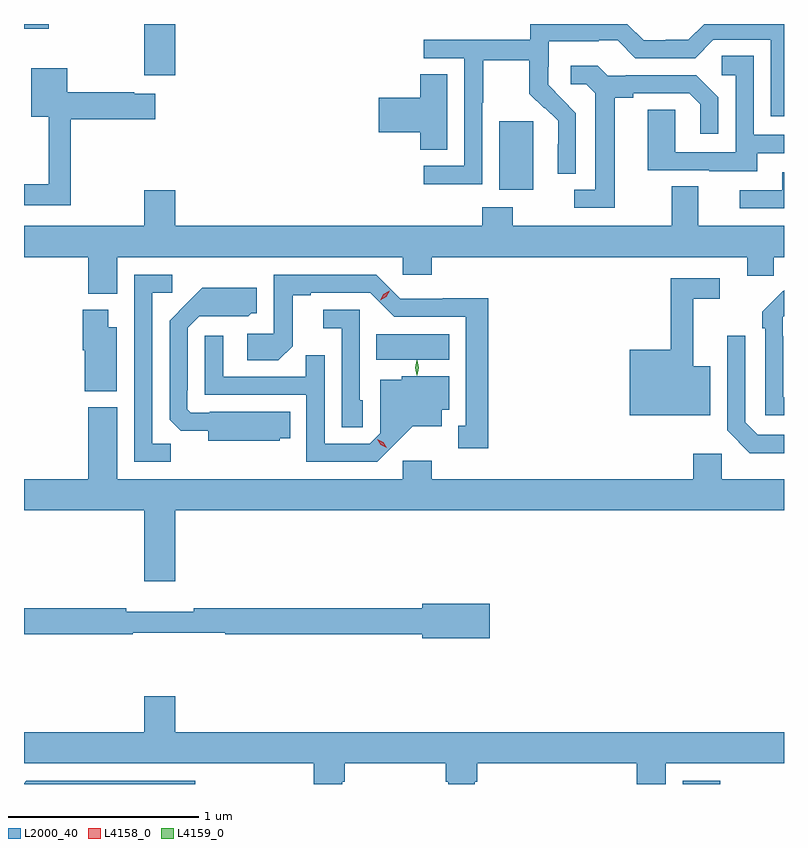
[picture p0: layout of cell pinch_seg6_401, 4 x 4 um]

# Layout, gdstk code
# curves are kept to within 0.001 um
import gdstk
lib = gdstk.Library(unit=1e-6, precision=1e-09)
def R(c, l, rs):  # rectangles x0, y0, x1, y1
    for r in rs: c.add(gdstk.rectangle(r[:2], r[2:], *l))
def P(c, l, *ps):  # polygons
    for p in ps: c.add(gdstk.Polygon(p, *l))
L2000_40 = (2000, 40)
L4158_0 = (4158, 0)
L4159_0 = (4159, 0)

pinch_seg6_401 = lib.new_cell('pinch_seg6_401')
R(pinch_seg6_401, L2000_40, [(635.373,933.907,635.572,933.924), (633.76,936.14,634.144,936.274), (634.409,937.034,634.588,937.395), (632.54,937.638,632.704,937.907), (631.907,937.881,632.036,937.907)])
P(pinch_seg6_401, L2000_40, [(634.32,937.492),(634.323,937.492),(634.323,937.716),(634.567,937.716),(634.567,937.541),(634.644,937.464),(634.647,937.467),(634.718,937.397),(634.718,937.274),(634.716,937.274),(634.716,937.12),(634.812,937.12),(634.812,937.438),(634.666,937.586),(634.666,937.683),(634.668,937.683),(634.668,937.817),(634.931,937.817),(634.931,937.821),(635.031,937.821),(635.124,937.728),(635.439,937.728),(635.535,937.824),(635.838,937.824),(635.838,937.422),(635.907,937.422),(635.907,937.907),(635.486,937.907),(635.403,937.824),(635.285,937.824),(635.285,937.821),(635.169,937.821),(635.083,937.907),(634.572,937.907),(634.572,937.824),(634.011,937.824),(634.011,937.728),(634.224,937.728),(634.224,937.161),(634.011,937.161),(634.011,937.063),(634.32,937.063)],
  [(635.767,937.227),(635.907,937.227),(635.907,937.323),(635.748,937.323),(635.748,937.739),(635.58,937.739),(635.58,937.638),(635.652,937.638),(635.652,937.233),(635.334,937.233),(635.334,937.457),(635.189,937.457),(635.189,937.137),(635.513,937.137),(635.513,937.133),(635.767,937.133)],
  [(635.017,937.52),(635.113,937.52),(635.113,937.542),(635.408,937.542),(635.465,937.485),(635.465,937.329),(635.562,937.329),(635.562,937.522),(635.446,937.638),(635.074,937.638),(635.074,937.635),(634.98,937.635),(634.928,937.687),(634.785,937.687),(634.785,937.59),(634.866,937.59),(634.913,937.543),(634.913,937.035),(634.803,937.035),(634.803,936.939),(635.017,936.939)],
  [(632.153,937.406),(632.599,937.406),(632.599,937.54),(632.486,937.54),(632.486,937.548),(632.134,937.548),(632.134,937.675),(631.946,937.675),(631.946,937.418),(632.036,937.418),(632.036,937.063),(631.907,937.063),(631.907,936.954),(632.153,936.954)],
  [(634.135,937.643),(633.992,937.643),(633.992,937.52),(633.774,937.52),(633.774,937.337),(633.992,937.337),(633.992,937.246),(634.135,937.246)],
  [(635.907,937.128),(635.897,937.128),(635.897,937.032),(635.673,937.032),(635.673,936.936),(635.907,936.936)],
  [(632.398,936.68),(633.9,936.68),(633.9,936.587),(634.052,936.587),(634.052,936.68),(635.714,936.68),(635.714,936.582),(635.853,936.582),(635.853,936.68),(635.907,936.68),(635.907,936.844),(635.455,936.844),(635.455,937.052),(635.315,937.052),(635.315,936.844),(634.479,936.844),(634.479,936.943),(634.319,936.943),(634.319,936.844),(632.704,936.844),(632.704,937.033),(632.54,937.033),(632.54,936.844),(631.907,936.844),(631.907,936.68),(632.246,936.68),(632.246,936.488),(632.398,936.488)],
  [(634.351,936.464),(634.11,936.464),(634.11,936.462),(633.888,936.462),(633.762,936.588),(633.222,936.588),(633.222,936.276),(633.081,936.276),(633.081,936.136),(633.245,936.136),(633.321,936.212),(633.321,936.48),(633.415,936.48),(633.415,936.492),(633.729,936.492),(633.855,936.366),(634.232,936.366),(634.232,935.793),(634.193,935.793),(634.193,935.673),(634.351,935.673)],
  [(632.679,935.699),(632.583,935.699),(632.583,936.492),(632.686,936.492),(632.686,936.588),(632.487,936.588),(632.487,935.604),(632.679,935.604)],
  [(635.518,936.106),(635.429,936.106),(635.429,936.462),(635.569,936.462),(635.569,936.57),(635.311,936.57),(635.311,936.193),(635.096,936.193),(635.096,935.849),(635.518,935.849)],
  [(633.252,935.726),(633.308,935.726),(633.308,935.866),(632.884,935.866),(632.884,935.862),(632.784,935.862),(632.766,935.88),(632.766,935.98),(632.769,935.98),(632.769,936.309),(632.829,936.369),(633.086,936.368),(633.102,936.384),(633.133,936.384),(633.133,936.52),(632.845,936.52),(632.673,936.346),(632.673,935.824),(632.732,935.765),(632.876,935.765),(632.876,935.714),(633.252,935.714)],
  [(635.907,935.943),(635.904,935.943),(635.904,936.263),(635.901,936.263),(635.901,936.363),(635.907,936.369),(635.907,936.505),(635.899,936.497),(635.898,936.498),(635.793,936.393),(635.793,936.305),(635.808,936.305),(635.808,935.847),(635.907,935.847)],
  [(632.395,936.31),(632.35,936.31),(632.35,936.403),(632.216,936.403),(632.216,936.189),(632.228,936.189),(632.228,935.975),(632.395,935.975)],
  [(633.69,935.928),(633.675,935.928),(633.675,936.402),(633.483,936.402),(633.483,936.305),(633.579,936.305),(633.579,935.785),(633.69,935.785)],
  [(635.907,935.745),(635.769,935.745),(635.703,935.811),(635.703,936.265),(635.607,936.265),(635.607,935.769),(635.728,935.648),(635.907,935.648)],
  [(633.85,935.687),(633.953,935.789),(634.105,935.789),(634.105,935.876),(634.144,935.876),(634.144,936.052),(633.894,936.052),(633.894,936.034),(633.783,936.034),(633.783,935.754),(633.726,935.697),(633.489,935.697),(633.489,936.164),(633.391,936.164),(633.391,936.051),(632.955,936.051),(632.955,936.265),(632.859,936.265),(632.859,935.955),(633.393,935.955),(633.393,935.604),(633.766,935.604)],
  [(632.704,935.348),(635.907,935.348),(635.907,935.512),(635.58,935.512),(635.58,935.644),(635.429,935.644),(635.429,935.512),(634.052,935.512),(634.052,935.608),(633.9,935.608),(633.9,935.512),(632.398,935.512),(632.398,935.89),(632.246,935.89),(632.246,935.512),(631.907,935.512),(631.907,935.348),(632.54,935.348),(632.54,934.974),(632.704,934.974)],
  [(634.357,934.856),(634.004,934.856),(634.004,934.832),(632.8,934.832),(632.8,934.813),(632.444,934.813),(632.444,934.832),(631.907,934.832),(631.907,934.696),(632.48,934.696),(632.48,934.704),(632.965,934.704),(632.965,934.696),(634.004,934.696),(634.004,934.673),(634.357,934.673)],
  [(633.583,933.92),(633.596,933.92),(633.596,934.016),(634.127,934.016),(634.127,933.92),(634.139,933.92),(634.139,933.907),(634.279,933.907),(634.279,933.92),(634.292,933.92),(634.292,934.016),(635.132,934.016),(635.132,933.907),(635.284,933.907),(635.284,934.016),(635.907,934.016),(635.907,934.18),(632.704,934.18),(632.704,934.369),(632.54,934.369),(632.54,934.18),(631.907,934.18),(631.907,934.016),(633.431,934.016),(633.431,933.907),(633.583,933.907)],
  [(632.807,933.924),(631.92,933.924),(631.907,933.911),(631.907,933.907),(632.807,933.907)])
P(pinch_seg6_401, L4158_0, [(633.782,936.453),(633.782,936.453),(633.799,936.485),(633.831,936.504),(633.831,936.504),(633.831,936.504),(633.814,936.471),(633.782,936.453)],
  [(633.816,935.677),(633.785,935.692),(633.767,935.721),(633.767,935.722),(633.767,935.722),(633.798,935.707),(633.816,935.678),(633.816,935.677)])
P(pinch_seg6_401, L4159_0, [(633.975,936.058),(633.966,936.098),(633.975,936.138),(633.975,936.138),(633.976,936.138),(633.985,936.098),(633.976,936.058),(633.976,936.058)])

lib.write_gds('pinch_seg6_401.gds')
